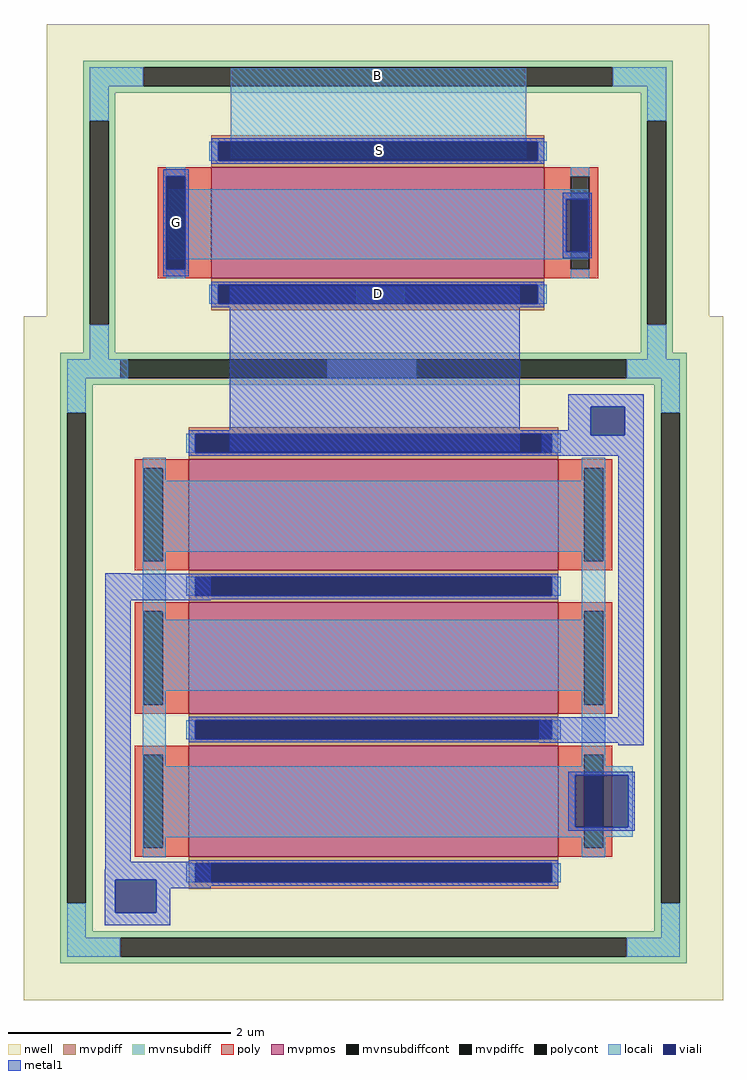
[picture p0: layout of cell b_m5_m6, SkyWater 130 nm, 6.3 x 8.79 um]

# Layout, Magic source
magic
tech sky130A
magscale 1 2
<< locali >>
rect -132 598 400 760
rect -244 524 512 542
rect -244 510 472 524
rect -246 440 472 510
rect -244 430 472 440
rect -244 416 512 430
rect 94 336 180 368
<< viali >>
rect 472 430 512 524
<< metal1 >>
rect 466 524 518 536
rect 466 430 472 524
rect 512 430 518 524
rect 466 418 518 430
rect -134 70 388 368
use c_m6  c_m6_0
transform 1 0 -422 0 -1 227
box -83 -87 1177 1145
use sky130_fd_pr__pfet_g5v0d10v5_MC3PNY  sky130_fd_pr__pfet_g5v0d10v5_MC3PNY_0
transform 0 1 133 -1 0 482
box -358 -597 358 597
<< labels >>
flabel locali 134 354 134 354 0 FreeSans 800 0 0 0 D
port 0 nsew
flabel locali -230 482 -230 482 0 FreeSans 800 0 0 0 G
port 1 nsew
flabel locali 136 612 136 612 0 FreeSans 800 0 0 0 S
port 2 nsew
flabel locali 132 748 132 748 0 FreeSans 800 0 0 0 B
port 3 nsew
<< end >>

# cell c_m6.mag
magic
tech sky130A
magscale 1 2
<< locali >>
rect 131 852 173 888
rect 922 852 964 888
rect 131 851 964 852
rect 131 834 1014 851
rect 131 740 910 834
rect 1006 740 1014 834
rect 131 724 1014 740
rect 131 588 173 724
rect 922 588 964 724
rect 131 460 965 588
rect 131 338 173 460
rect 922 338 964 460
rect 131 210 964 338
rect 131 168 173 210
rect 922 168 964 210
rect 464 -8 624 26
<< viali >>
rect 82 928 156 988
rect 910 740 1006 834
rect 938 76 1000 128
<< metal1 >>
rect 63 988 181 1010
rect 63 928 82 988
rect 156 944 181 988
rect 156 928 254 944
rect 63 910 254 928
rect 64 896 254 910
rect 64 425 110 896
rect 898 834 1018 840
rect 898 740 910 834
rect 1006 740 1018 834
rect 898 734 1018 740
rect 988 682 1034 686
rect 846 636 1034 682
rect 64 377 254 425
rect 64 376 110 377
rect 988 165 1034 636
rect 850 128 1034 165
rect 850 119 938 128
rect 898 76 938 119
rect 1000 76 1034 128
rect 898 54 1034 76
use sky130_fd_pr__pfet_g5v0d10v5_E5YWRV  sky130_fd_pr__pfet_g5v0d10v5_E5YWRV_0
transform 0 1 547 -1 0 529
box -616 -630 616 630
<< labels >>
flabel viali 116 958 116 958 0 FreeSans 800 0 0 0 D
port 0 nsew
flabel viali 954 788 954 788 0 FreeSans 800 0 0 0 G
port 1 nsew
flabel viali 968 100 968 100 0 FreeSans 800 0 0 0 S
port 2 nsew
flabel locali 546 8 546 8 0 FreeSans 800 0 0 0 B
port 3 nsew
<< end >>

# cell sky130_fd_pr__pfet_g5v0d10v5_MC3PNY: kit device sky130_fd_pr__pfet_g5v0d10v5, w 3 l 1 m 1 nf 1 diffcov 100 polycov 100 guard 1 glc 1 grc 1 gtc 1 gbc 1 tbcov 100 rlcov 100 topc 1 botc 1 poverlap 0 doverlap 1 lmin 0.50 wmin 0.42 class mosfet compatible {sky130_fd_pr__pfet_01v8 sky130_fd_pr__pfet_01v8_lvt sky130_fd_pr__pfet_01v8_hvt sky130_fd_pr__pfet_g5v0d10v5} full_metal 1 conn_gates 0 viasrc 100 viadrn 100 viagate 100 viagb 0 viagr 0 viagl 0 viagt 0 doports 1

# cell sky130_fd_pr__pfet_g5v0d10v5_E5YWRV: kit device sky130_fd_pr__pfet_g5v0d10v5, w 3.33 l 1 m 1 nf 3 diffcov 100 polycov 100 guard 1 glc 1 grc 1 gtc 1 gbc 1 tbcov 100 rlcov 100 topc 1 botc 1 poverlap 0 doverlap 1 lmin 0.50 wmin 0.42 class mosfet compatible {sky130_fd_pr__pfet_01v8 sky130_fd_pr__pfet_01v8_lvt sky130_fd_pr__pfet_01v8_hvt sky130_fd_pr__pfet_g5v0d10v5} full_metal 1 conn_gates 0 viasrc 100 viadrn 100 viagate 100 viagb 0 viagr 0 viagl 0 viagt 0 doports 1
